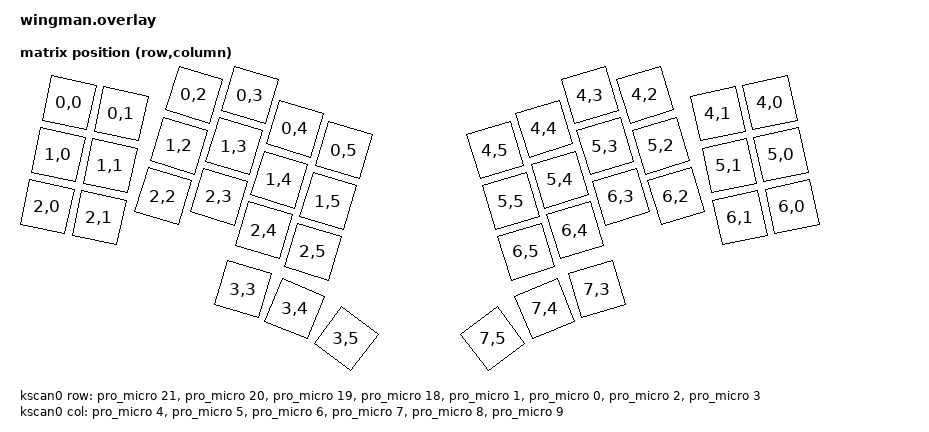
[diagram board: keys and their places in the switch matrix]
#include <dt-bindings/zmk/matrix_transform.h> 
#include <physical_layouts.dtsi>

/ {
    chosen {
        zmk,kscan = &kscan0;
        zmk,physical-layout = &physical_layout0;
    };
    physical_layout0: physical_layout_0 {
        compatible = "zmk,physical-layout";
        display-name = "Default Layout";
        kscan = <&kscan0>;
        transform = <&default_transform>; 

        keys =
                 <&key_physical_attrs 100 100   44   16   1200     94    66>,
                 <&key_physical_attrs 100 100  148   38   1200    198    88>,
                 <&key_physical_attrs 100 100  294    0   1700    344    50>,
                 <&key_physical_attrs 100 100  405    1   1700    455    51>,
                 <&key_physical_attrs 100 100  495   68   1700    545   118>,
                 <&key_physical_attrs 100 100  593  111   1700    643   161>,

                 <&key_physical_attrs 100 100  896  111 (-1700)   946   161>,
                 <&key_physical_attrs 100 100  994   68 (-1700)  1044   118>,
                 <&key_physical_attrs 100 100 1085    1 (-1700)  1135    51>,
                 <&key_physical_attrs 100 100 1196    0 (-1700)  1246    50>,
                 <&key_physical_attrs 100 100 1341   38 (-1200)  1391    88>,
                 <&key_physical_attrs 100 100 1445   16 (-1200)  1495    66>,

                 <&key_physical_attrs 100 100   22  120   1200     72   170>,
                 <&key_physical_attrs 100 100  126  142   1200    176   192>,
                 <&key_physical_attrs 100 100  263  102   1700    313   152>,
                 <&key_physical_attrs 100 100  374  103   1700    424   153>,
                 <&key_physical_attrs 100 100  464  170   1700    514   220>,
                 <&key_physical_attrs 100 100  562  213   1700    612   263>,

                 <&key_physical_attrs 100 100  927  213 (-1700)   977   263>,
                 <&key_physical_attrs 100 100 1025  170 (-1700)  1075   220>,
                 <&key_physical_attrs 100 100 1116  103 (-1700)  1166   153>,
                 <&key_physical_attrs 100 100 1227  102 (-1700)  1277   152>,
                 <&key_physical_attrs 100 100 1364  142 (-1200)  1414   192>,
                 <&key_physical_attrs 100 100 1467  120 (-1200)  1517   170>,

                 <&key_physical_attrs 100 100    0  224   1200     50   274>,
                 <&key_physical_attrs 100 100  104  246   1200    154   296>,
                 <&key_physical_attrs 100 100  232  203   1700    282   253>,
                 <&key_physical_attrs 100 100  343  204   1700    393   254>,
                 <&key_physical_attrs 100 100  433  271   1700    483   321>,
                 <&key_physical_attrs 100 100  531  314   1700    581   364>,

                 <&key_physical_attrs 100 100  958  314 (-1700)  1008   364>,
                 <&key_physical_attrs 100 100 1056  271 (-1700)  1106   321>,
                 <&key_physical_attrs 100 100 1147  204 (-1700)  1197   254>,
                 <&key_physical_attrs 100 100 1258  203 (-1700)  1308   253>,
                 <&key_physical_attrs 100 100 1386  246 (-1200)  1436   296>,
                 <&key_physical_attrs 100 100 1490  224 (-1200)  1540   274>,

                 <&key_physical_attrs 100 100  391  389   1700    441   439>,
                 <&key_physical_attrs 100 100  495  428   2200    545   478>,
                 <&key_physical_attrs 100 100  598  488   3700    648   538>,

                 <&key_physical_attrs 100 100  891  488 (-3700)   941   538>,
                 <&key_physical_attrs 100 100  995  428 (-2200)  1045   478>,
                 <&key_physical_attrs 100 100 1099  389 (-1700)  1149   439>;
    };

    kscan0: kscan0 {
        compatible = "zmk,kscan-gpio-matrix";
        diode-direction = "col2row";
        wakeup-source;

        col-gpios
            = <&pro_micro 4 GPIO_ACTIVE_HIGH>
            , <&pro_micro 5 GPIO_ACTIVE_HIGH>
            , <&pro_micro 6 GPIO_ACTIVE_HIGH>
            , <&pro_micro 7 GPIO_ACTIVE_HIGH>
            , <&pro_micro 8 GPIO_ACTIVE_HIGH>
            , <&pro_micro 9 GPIO_ACTIVE_HIGH>
            ;

        row-gpios
            = <&pro_micro 21 (GPIO_ACTIVE_HIGH | GPIO_PULL_DOWN)>
            , <&pro_micro 20 (GPIO_ACTIVE_HIGH | GPIO_PULL_DOWN)>
            , <&pro_micro 19 (GPIO_ACTIVE_HIGH | GPIO_PULL_DOWN)>
            , <&pro_micro 18 (GPIO_ACTIVE_HIGH | GPIO_PULL_DOWN)>
            , <&pro_micro 1 (GPIO_ACTIVE_HIGH | GPIO_PULL_DOWN)>
            , <&pro_micro 0 (GPIO_ACTIVE_HIGH | GPIO_PULL_DOWN)>
            , <&pro_micro 2 (GPIO_ACTIVE_HIGH | GPIO_PULL_DOWN)>
            , <&pro_micro 3 (GPIO_ACTIVE_HIGH | GPIO_PULL_DOWN)>
            ;
    };
    default_transform: keymap_transform0 {
        compatible = "zmk,matrix-transform";
        columns = <6>; 
        rows = <8>; 
        map = <
    
            RC(0,0) RC(0,1) RC(0,2) RC(0,3) RC(0,4) RC(0,5)
            RC(4,5) RC(4,4) RC(4,3) RC(4,2) RC(4,1) RC(4,0)

            RC(1,0) RC(1,1) RC(1,2) RC(1,3) RC(1,4) RC(1,5)
            RC(5,5) RC(5,4) RC(5,3) RC(5,2) RC(5,1) RC(5,0)

            RC(2,0) RC(2,1) RC(2,2) RC(2,3) RC(2,4) RC(2,5)
            RC(6,5) RC(6,4) RC(6,3) RC(6,2) RC(6,1) RC(6,0)
            RC(3,3) RC(3,4) RC(3,5)
            RC(7,5) RC(7,4) RC(7,3)
        >;
    };
};
